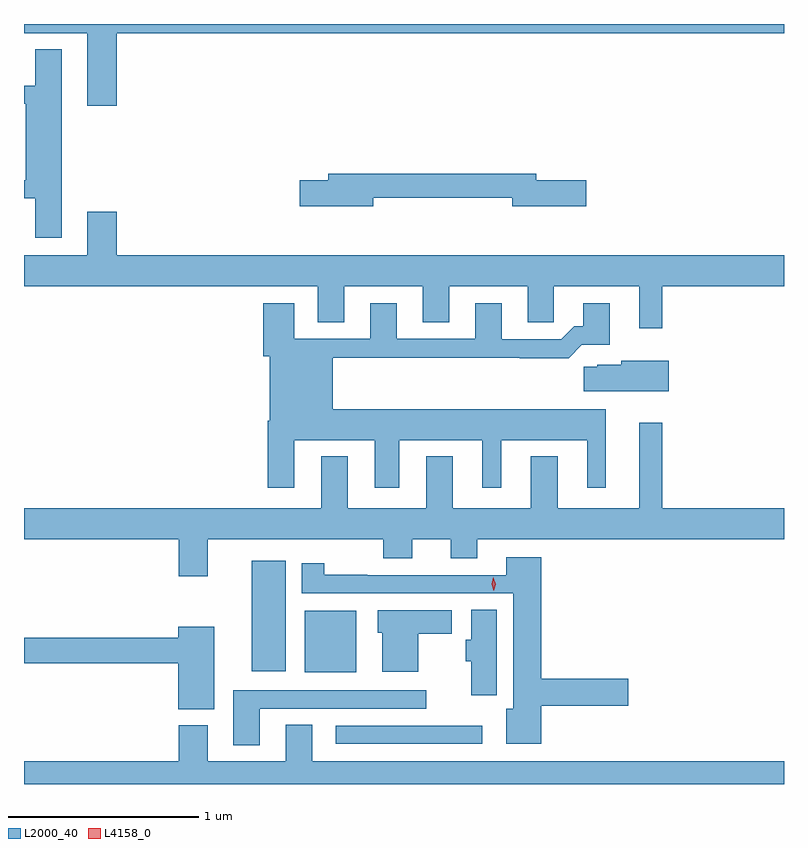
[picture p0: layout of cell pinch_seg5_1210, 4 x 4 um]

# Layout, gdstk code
import gdstk
lib = gdstk.Library(unit=1e-6, precision=1e-09)
def R(c, l, rs):  # rectangles x0, y0, x1, y1
    for r in rs: c.add(gdstk.rectangle(r[:2], r[2:], *l))
def P(c, l, *ps):  # polygons
    for p in ps: c.add(gdstk.Polygon(p, *l))
L2000_40 = (2000, 40)
L4158_0 = (4158, 0)

pinch_seg5_1210 = lib.new_cell('pinch_seg5_1210')
R(pinch_seg5_1210, L2000_40, [(460.119,888.984,460.891,889.08), (459.956,889.361,460.228,889.684), (459.677,889.367,459.856,889.948)])
P(pinch_seg5_1210, L2000_40, [(458.479,892.724),(458.813,892.724),(458.813,892.344),(458.966,892.344),(458.966,892.724),(462.479,892.724),(462.479,892.773),(458.479,892.773)],
  [(458.677,892.639),(458.537,892.639),(458.537,892.449),(458.479,892.449),(458.479,892.352),(458.489,892.352),(458.489,891.951),(458.479,891.951),(458.479,891.855),(458.537,891.855),(458.537,891.648),(458.677,891.648)],
  [(460.318,891.858),(461.048,891.858),(461.048,891.815),(461.437,891.815),(461.437,891.95),(461.176,891.95),(461.176,891.986),(460.079,891.986),(460.079,891.95),(459.93,891.95),(459.93,891.815),(460.318,891.815)],
  [(461.839,891.392),(462.479,891.392),(462.479,891.556),(458.966,891.556),(458.966,891.784),(458.813,891.784),(458.813,891.556),(458.479,891.556),(458.479,891.392),(460.025,891.392),(460.025,891.202),(460.165,891.202),(460.165,891.392),(460.577,891.392),(460.577,891.202),(460.717,891.202),(460.717,891.392),(461.129,891.392),(461.129,891.202),(461.268,891.202),(461.268,891.392),(461.717,891.392),(461.717,891.171),(461.839,891.171)],
  [(459.901,890.582),(460.325,890.582),(460.325,890.331),(460.453,890.331),(460.453,890.582),(460.892,890.582),(460.892,890.331),(460.99,890.331),(460.99,890.582),(461.444,890.582),(461.444,890.331),(461.542,890.331),(461.542,890.746),(460.105,890.746),(460.105,891.016),(461.089,891.016),(461.089,891.014),(461.345,891.014),(461.415,891.084),(461.563,891.084),(461.563,891.304),(461.423,891.304),(461.423,891.181),(461.374,891.181),(461.307,891.114),(460.993,891.114),(460.993,891.304),(460.853,891.304),(460.853,891.117),(460.441,891.117),(460.441,891.304),(460.301,891.304),(460.301,891.117),(459.901,891.117),(459.901,891.304),(459.737,891.304),(459.737,891.024),(459.773,891.024),(459.773,890.686),(459.761,890.686),(459.761,890.331),(459.901,890.331)],
  [(461.872,891.001),(461.622,891.001),(461.622,890.98),(461.496,890.98),(461.496,890.969),(461.424,890.969),(461.424,890.84),(461.872,890.84)],
  [(459.445,890.06),(460.37,890.06),(460.37,889.961),(460.522,889.961),(460.522,890.06),(460.724,890.06),(460.724,889.961),(460.864,889.961),(460.864,890.06),(462.479,890.06),(462.479,890.224),(461.839,890.224),(461.839,890.674),(461.717,890.674),(461.717,890.224),(461.287,890.224),(461.287,890.497),(461.147,890.497),(461.147,890.224),(460.735,890.224),(460.735,890.497),(460.595,890.497),(460.595,890.224),(460.183,890.224),(460.183,890.497),(460.043,890.497),(460.043,890.224),(458.479,890.224),(458.479,890.06),(459.293,890.06),(459.293,889.866),(459.445,889.866)],
  [(461.201,889.186),(461.659,889.186),(461.659,889.328),(461.201,889.328),(461.201,889.966),(461.018,889.966),(461.018,889.872),(460.286,889.872),(460.286,889.874),(460.059,889.874),(460.059,889.936),(459.941,889.936),(459.941,889.776),(461.054,889.776),(461.054,889.168),(461.018,889.168),(461.018,888.986),(461.201,888.986)],
  [(460.966,889.691),(460.832,889.691),(460.832,889.533),(460.805,889.533),(460.805,889.419),(460.832,889.419),(460.832,889.239),(460.966,889.239)],
  [(460.555,889.565),(460.729,889.565),(460.729,889.687),(460.34,889.687),(460.34,889.569),(460.364,889.569),(460.364,889.364),(460.555,889.364)],
  [(459.481,889.6),(459.29,889.6),(459.29,889.544),(458.479,889.544),(458.479,889.408),(459.29,889.408),(459.29,889.166),(459.481,889.166)],
  [(459.721,889.17),(460.597,889.17),(460.597,889.266),(459.581,889.266),(459.581,888.978),(459.721,888.978)],
  [(462.479,888.892),(459.997,888.892),(459.997,889.085),(459.857,889.085),(459.857,888.892),(459.445,888.892),(459.445,889.081),(459.293,889.081),(459.293,888.892),(458.479,888.892),(458.479,888.773),(462.479,888.773)])
P(pinch_seg5_1210, L4158_0, [(460.952,889.789),(460.952,889.789),(460.941,889.824),(460.949,889.861),(460.949,889.861),(460.95,889.861),(460.961,889.825),(460.952,889.789)])

lib.write_gds('pinch_seg5_1210.gds')
